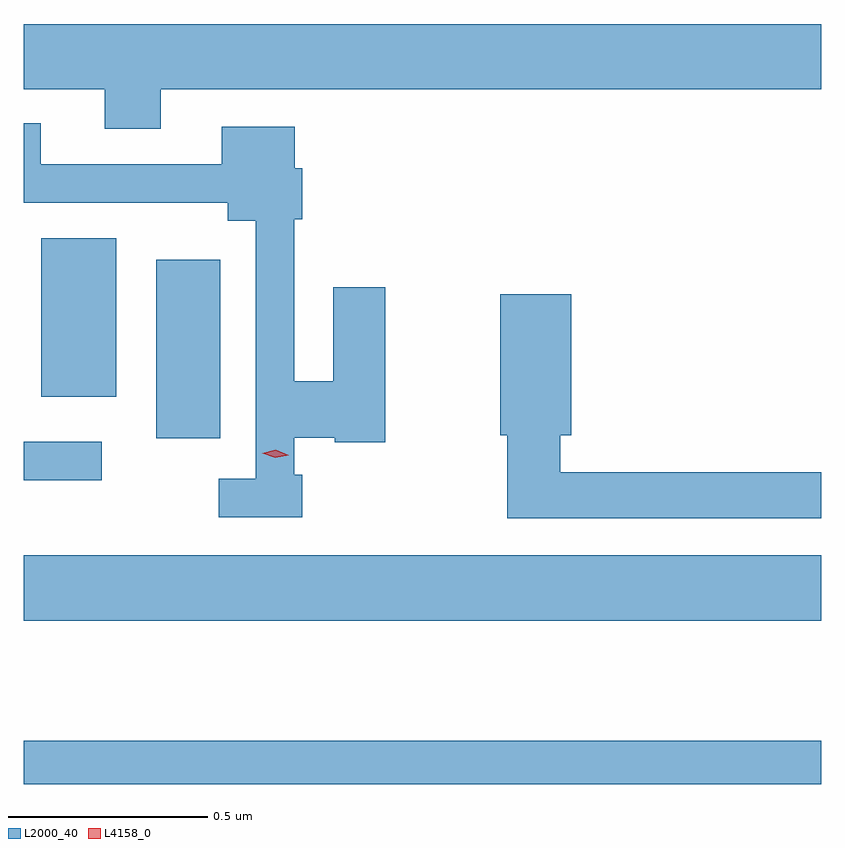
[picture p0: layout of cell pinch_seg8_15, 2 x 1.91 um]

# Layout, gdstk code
import gdstk
lib = gdstk.Library(unit=1e-6, precision=1e-09)
def R(c, l, rs):  # rectangles x0, y0, x1, y1
    for r in rs: c.add(gdstk.rectangle(r[:2], r[2:], *l))
def P(c, l, *ps):  # polygons
    for p in ps: c.add(gdstk.Polygon(p, *l))
L2000_40 = (2000, 40)
L4158_0 = (4158, 0)

pinch_seg8_15 = lib.new_cell('pinch_seg8_15')
R(pinch_seg8_15, L2000_40, [(1032.828,1128.078,1034.828,1128.187), (1032.828,1128.488,1034.828,1128.652), (1032.828,1128.84,1033.024,1128.936), (1033.16,1128.945,1033.321,1129.393), (1032.872,1129.049,1033.06,1129.447)])
P(pinch_seg8_15, L2000_40, [(1033.171,1129.82),(1034.828,1129.82),(1034.828,1129.984),(1032.828,1129.984),(1032.828,1129.82),(1033.031,1129.82),(1033.031,1129.721),(1033.171,1129.721)],
  [(1033.526,1128.854),(1033.506,1128.854),(1033.506,1128.946),(1033.608,1128.946),(1033.608,1128.935),(1033.734,1128.935),(1033.734,1129.324),(1033.604,1129.324),(1033.604,1129.088),(1033.506,1129.088),(1033.506,1129.494),(1033.526,1129.494),(1033.526,1129.622),(1033.507,1129.622),(1033.507,1129.726),(1033.325,1129.726),(1033.325,1129.632),(1032.871,1129.632),(1032.871,1129.735),(1032.828,1129.735),(1032.828,1129.536),(1033.34,1129.536),(1033.34,1129.49),(1033.41,1129.49),(1033.41,1128.843),(1033.317,1128.843),(1033.317,1128.747),(1033.526,1128.747)],
  [(1034.828,1128.86),(1034.173,1128.86),(1034.173,1128.953),(1034.201,1128.953),(1034.201,1129.306),(1034.023,1129.306),(1034.023,1128.953),(1034.041,1128.953),(1034.041,1128.744),(1034.828,1128.744)])
P(pinch_seg8_15, L4158_0, [(1033.459,1128.896),(1033.426,1128.908),(1033.426,1128.908),(1033.426,1128.908),(1033.46,1128.916),(1033.493,1128.903),(1033.493,1128.903),(1033.493,1128.903)])

lib.write_gds('pinch_seg8_15.gds')
